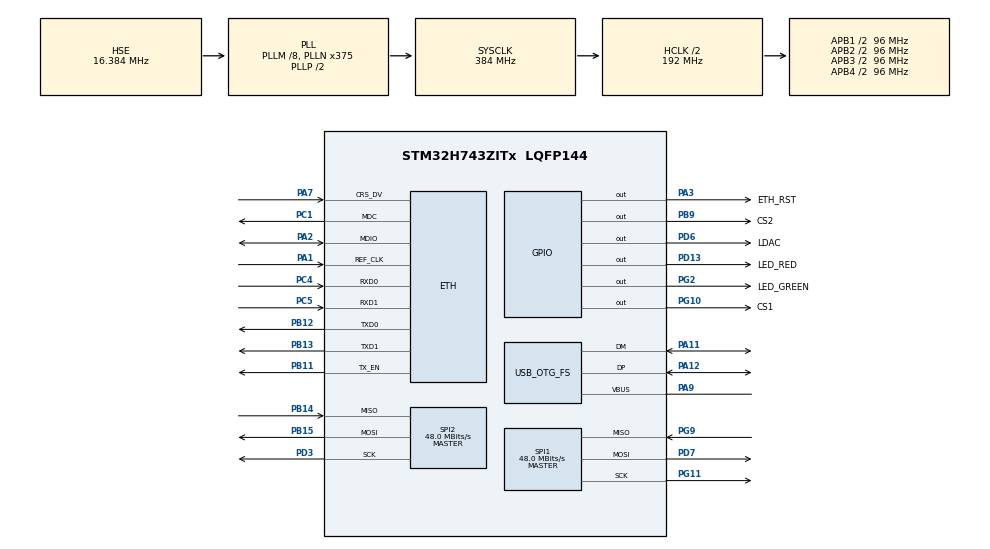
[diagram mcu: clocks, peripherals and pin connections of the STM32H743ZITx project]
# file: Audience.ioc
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CORTEX_M7.AccessPermission-Cortex_Memory_Protection_Unit_Region0_Settings=MPU_REGION_FULL_ACCESS
CORTEX_M7.AccessPermission-Cortex_Memory_Protection_Unit_Region1_Settings=MPU_REGION_FULL_ACCESS
CORTEX_M7.BaseAddress-Cortex_Memory_Protection_Unit_Region0_Settings=0x30040000
CORTEX_M7.BaseAddress-Cortex_Memory_Protection_Unit_Region1_Settings=0x30044000
CORTEX_M7.CPU_DCache=Enabled
CORTEX_M7.CPU_ICache=Enabled
CORTEX_M7.Enable-Cortex_Memory_Protection_Unit_Region0_Settings=MPU_REGION_ENABLE
CORTEX_M7.Enable-Cortex_Memory_Protection_Unit_Region1_Settings=MPU_REGION_ENABLE
CORTEX_M7.IsBufferable-Cortex_Memory_Protection_Unit_Region0_Settings=MPU_ACCESS_BUFFERABLE
CORTEX_M7.IsShareable-Cortex_Memory_Protection_Unit_Region1_Settings=MPU_ACCESS_SHAREABLE
CORTEX_M7.MPU_Control=MPU_PRIVILEGED_DEFAULT
CORTEX_M7.Size-Cortex_Memory_Protection_Unit_Region0_Settings=MPU_REGION_SIZE_256B
CORTEX_M7.Size-Cortex_Memory_Protection_Unit_Region1_Settings=MPU_REGION_SIZE_16KB
CORTEX_M7.TypeExtField-Cortex_Memory_Protection_Unit_Region1_Settings=MPU_TEX_LEVEL1
Dma.Request0=SPI2_RX
Dma.Request1=SPI2_TX
Dma.Request2=SPI1_RX
Dma.Request3=SPI1_TX
Dma.SPI1_RX.2.Direction=DMA_PERIPH_TO_MEMORY
Dma.SPI1_RX.2.EventEnable=DISABLE
Dma.SPI1_RX.2.FIFOMode=DMA_FIFOMODE_DISABLE
Dma.SPI1_RX.2.Instance=DMA1_Stream0
Dma.SPI1_RX.2.MemDataAlignment=DMA_MDATAALIGN_BYTE
Dma.SPI1_RX.2.MemInc=DMA_MINC_ENABLE
Dma.SPI1_RX.2.Mode=DMA_NORMAL
Dma.SPI1_RX.2.PeriphDataAlignment=DMA_PDATAALIGN_BYTE
Dma.SPI1_RX.2.PeriphInc=DMA_PINC_DISABLE
Dma.SPI1_RX.2.Polarity=HAL_DMAMUX_REQ_GEN_RISING
Dma.SPI1_RX.2.Priority=DMA_PRIORITY_LOW
Dma.SPI1_RX.2.RequestNumber=1
Dma.SPI1_RX.2.SignalID=NONE
Dma.SPI1_RX.2.SyncEnable=DISABLE
Dma.SPI1_RX.2.SyncPolarity=HAL_DMAMUX_SYNC_NO_EVENT
Dma.SPI1_RX.2.SyncRequestNumber=1
Dma.SPI1_RX.2.SyncSignalID=NONE
Dma.SPI1_TX.3.Direction=DMA_MEMORY_TO_PERIPH
Dma.SPI1_TX.3.EventEnable=DISABLE
Dma.SPI1_TX.3.FIFOMode=DMA_FIFOMODE_DISABLE
Dma.SPI1_TX.3.Instance=DMA1_Stream1
Dma.SPI1_TX.3.MemDataAlignment=DMA_MDATAALIGN_BYTE
Dma.SPI1_TX.3.MemInc=DMA_MINC_ENABLE
Dma.SPI1_TX.3.Mode=DMA_NORMAL
Dma.SPI1_TX.3.PeriphDataAlignment=DMA_PDATAALIGN_BYTE
Dma.SPI1_TX.3.PeriphInc=DMA_PINC_DISABLE
Dma.SPI1_TX.3.Polarity=HAL_DMAMUX_REQ_GEN_RISING
Dma.SPI1_TX.3.Priority=DMA_PRIORITY_LOW
Dma.SPI1_TX.3.RequestNumber=1
Dma.SPI1_TX.3.SignalID=NONE
Dma.SPI1_TX.3.SyncEnable=DISABLE
Dma.SPI1_TX.3.SyncPolarity=HAL_DMAMUX_SYNC_NO_EVENT
Dma.SPI1_TX.3.SyncRequestNumber=1
Dma.SPI1_TX.3.SyncSignalID=NONE
Dma.SPI2_RX.0.Direction=DMA_PERIPH_TO_MEMORY
Dma.SPI2_RX.0.EventEnable=DISABLE
Dma.SPI2_RX.0.FIFOMode=DMA_FIFOMODE_DISABLE
Dma.SPI2_RX.0.Instance=DMA1_Stream2
Dma.SPI2_RX.0.MemDataAlignment=DMA_MDATAALIGN_BYTE
Dma.SPI2_RX.0.MemInc=DMA_MINC_ENABLE
Dma.SPI2_RX.0.Mode=DMA_NORMAL
Dma.SPI2_RX.0.PeriphDataAlignment=DMA_PDATAALIGN_BYTE
Dma.SPI2_RX.0.PeriphInc=DMA_PINC_DISABLE
Dma.SPI2_RX.0.Polarity=HAL_DMAMUX_REQ_GEN_RISING
Dma.SPI2_RX.0.Priority=DMA_PRIORITY_LOW
Dma.SPI2_RX.0.RequestNumber=1
Dma.SPI2_RX.0.SignalID=NONE
Dma.SPI2_RX.0.SyncEnable=DISABLE
Dma.SPI2_RX.0.SyncPolarity=HAL_DMAMUX_SYNC_NO_EVENT
Dma.SPI2_RX.0.SyncRequestNumber=1
Dma.SPI2_RX.0.SyncSignalID=NONE
Dma.SPI2_TX.1.Direction=DMA_MEMORY_TO_PERIPH
Dma.SPI2_TX.1.EventEnable=DISABLE
Dma.SPI2_TX.1.FIFOMode=DMA_FIFOMODE_DISABLE
Dma.SPI2_TX.1.Instance=DMA1_Stream3
Dma.SPI2_TX.1.MemDataAlignment=DMA_MDATAALIGN_BYTE
Dma.SPI2_TX.1.MemInc=DMA_MINC_ENABLE
Dma.SPI2_TX.1.Mode=DMA_NORMAL
Dma.SPI2_TX.1.PeriphDataAlignment=DMA_PDATAALIGN_BYTE
Dma.SPI2_TX.1.PeriphInc=DMA_PINC_DISABLE
Dma.SPI2_TX.1.Polarity=HAL_DMAMUX_REQ_GEN_RISING
Dma.SPI2_TX.1.Priority=DMA_PRIORITY_LOW
Dma.SPI2_TX.1.RequestNumber=1
Dma.SPI2_TX.1.SignalID=NONE
Dma.SPI2_TX.1.SyncEnable=DISABLE
Dma.SPI2_TX.1.SyncPolarity=HAL_DMAMUX_SYNC_NO_EVENT
Dma.SPI2_TX.1.SyncRequestNumber=1
Dma.SPI2_TX.1.SyncSignalID=NONE
ETH.MACAddr=42\:42\:42\:12\:34\:56
ETH.MediaInterface=HAL_ETH_RMII_MODE
LWIP.BSP.number=1
LWIP.GATEWAY_ADDRESS=192.168.254.001
LWIP.IP_ADDRESS=192.168.254.012
LWIP.LWIP_DHCP=0
LWIP.NETMASK_ADDRESS=255.255.255.000
LWIP.Version=v2.1.2_Cube
LWIP0.BSP.STBoard=false
LWIP0.BSP.api=BSP_COMPONENT_DRIVER
LWIP0.BSP.component=LAN8742
LWIP0.BSP.instance=LAN8742
LWIP0.BSP.name=Driver_PHY
LWIP0.BSP.solution=LAN8742
Mcu.Family=STM32H7
Mcu.Name=STM32H743ZITx
Mcu.Package=LQFP144
NVIC.DMA1_Stream0_IRQn=true\:0\:0\:false\:false\:true\:false\:true\:true
NVIC.DMA1_Stream1_IRQn=true\:0\:0\:false\:false\:true\:false\:true\:true
NVIC.DMA1_Stream2_IRQn=true\:0\:0\:false\:false\:true\:false\:true\:true
NVIC.DMA1_Stream3_IRQn=true\:0\:0\:false\:false\:true\:false\:true\:true
NVIC.OTG_FS_IRQn=true\:0\:0\:false\:false\:true\:false\:true\:true
NVIC.PriorityGroup=NVIC_PRIORITYGROUP_4
NVIC.SPI1_IRQn=true\:0\:0\:false\:false\:true\:false\:true\:true
NVIC.SPI2_IRQn=true\:0\:0\:false\:false\:true\:false\:true\:true
NVIC.TIM1_UP_IRQn=true\:0\:0\:false\:false\:true\:true\:true\:true
PA1.GPIO_Speed=GPIO_SPEED_FREQ_VERY_HIGH
PA1.Mode=RMII
PA1.Signal=ETH_REF_CLK
PA11.Mode=Device_Only
PA11.Signal=USB_OTG_FS_DM
PA12.Mode=Device_Only
PA12.Signal=USB_OTG_FS_DP
PA2.GPIO_Speed=GPIO_SPEED_FREQ_VERY_HIGH
PA2.Mode=RMII
PA2.Signal=ETH_MDIO
PA3.GPIO_Label=ETH_RST
PA3.GPIO_Speed=GPIO_SPEED_FREQ_VERY_HIGH
PA3.PinState=GPIO_PIN_SET
PA3.Signal=GPIO_Output
PA7.GPIO_Speed=GPIO_SPEED_FREQ_VERY_HIGH
PA7.Mode=RMII
PA7.Signal=ETH_CRS_DV
PA9.Mode=Activate_VBUS
PA9.Signal=USB_OTG_FS_VBUS
PB11.GPIO_Speed=GPIO_SPEED_FREQ_VERY_HIGH
PB11.Mode=RMII
PB11.Signal=ETH_TX_EN
PB12.GPIO_Speed=GPIO_SPEED_FREQ_VERY_HIGH
PB12.Mode=RMII
PB12.Signal=ETH_TXD0
PB13.GPIO_Speed=GPIO_SPEED_FREQ_VERY_HIGH
PB13.Mode=RMII
PB13.Signal=ETH_TXD1
PB14.GPIO_Speed=GPIO_SPEED_FREQ_VERY_HIGH
PB14.Mode=Full_Duplex_Master
PB14.Signal=SPI2_MISO
PB15.GPIO_Speed=GPIO_SPEED_FREQ_VERY_HIGH
PB15.Mode=Full_Duplex_Master
PB15.Signal=SPI2_MOSI
PB9.GPIO_Label=CS2
PB9.GPIO_Speed=GPIO_SPEED_FREQ_VERY_HIGH
PB9.PinState=GPIO_PIN_SET
PB9.Signal=GPIO_Output
PC1.GPIO_Speed=GPIO_SPEED_FREQ_VERY_HIGH
PC1.Mode=RMII
PC1.Signal=ETH_MDC
PC4.GPIO_Speed=GPIO_SPEED_FREQ_VERY_HIGH
PC4.Mode=RMII
PC4.Signal=ETH_RXD0
PC5.GPIO_Speed=GPIO_SPEED_FREQ_VERY_HIGH
PC5.Mode=RMII
PC5.Signal=ETH_RXD1
PD13.GPIO_Label=LED_RED
PD13.GPIO_Speed=GPIO_SPEED_FREQ_VERY_HIGH
PD13.PinState=GPIO_PIN_SET
PD13.Signal=GPIO_Output
PD3.GPIO_Speed=GPIO_SPEED_FREQ_VERY_HIGH
PD3.Mode=Full_Duplex_Master
PD3.Signal=SPI2_SCK
PD6.GPIO_Label=LDAC
PD6.GPIO_Speed=GPIO_SPEED_FREQ_VERY_HIGH
PD6.PinState=GPIO_PIN_SET
PD6.Signal=GPIO_Output
PD7.GPIO_Speed=GPIO_SPEED_FREQ_VERY_HIGH
PD7.Mode=Full_Duplex_Master
PD7.Signal=SPI1_MOSI
PG10.GPIO_Label=CS1
PG10.GPIO_Speed=GPIO_SPEED_FREQ_VERY_HIGH
PG10.PinState=GPIO_PIN_SET
PG10.Signal=GPIO_Output
PG11.GPIO_Speed=GPIO_SPEED_FREQ_VERY_HIGH
PG11.Mode=Full_Duplex_Master
PG11.Signal=SPI1_SCK
PG2.GPIO_Label=LED_GREEN
PG2.GPIO_Speed=GPIO_SPEED_FREQ_VERY_HIGH
PG2.PinState=GPIO_PIN_SET
PG2.Signal=GPIO_Output
PG9.GPIO_Speed=GPIO_SPEED_FREQ_VERY_HIGH
PG9.Mode=Full_Duplex_Master
PG9.Signal=SPI1_MISO
PH0-OSC_IN\ (PH0).Mode=HSE-External-Oscillator
PH0-OSC_IN\ (PH0).Signal=RCC_OSC_IN
PH1-OSC_OUT\ (PH1).Mode=HSE-External-Oscillator
PH1-OSC_OUT\ (PH1).Signal=RCC_OSC_OUT
ProjectManager.HeapSize=0x4000
ProjectManager.StackSize=0x4000
ProjectManager.TargetToolchain=STM32CubeIDE
RCC.ADCFreq_Value=33024000
RCC.APB1Freq_Value=96000000
RCC.APB2Freq_Value=96000000
RCC.APB3Freq_Value=96000000
RCC.APB4Freq_Value=96000000
RCC.CortexFreq_Value=384000000
RCC.D1PPRE=RCC_APB3_DIV2
RCC.D2PPRE1=RCC_APB1_DIV2
RCC.D2PPRE2=RCC_APB2_DIV2
RCC.D3PPRE=RCC_APB4_DIV2
RCC.DIVM1=8
RCC.DIVM3=8
RCC.DIVN1=375
RCC.DIVN3=375
RCC.DIVP3=16
RCC.DIVQ1=4
RCC.DIVQ3=16
RCC.HCLKFreq_Value=192000000
RCC.HPRE=RCC_HCLK_DIV2
RCC.HSE_VALUE=16384000
RCC.PLL2FRACN=0
RCC.PLL3FRACN=0
RCC.PLLFRACN=0
RCC.PLLSourceVirtual=RCC_PLLSOURCE_HSE
RCC.SYSCLKFreq_VALUE=384000000
RCC.SYSCLKSource=RCC_SYSCLKSOURCE_PLLCLK
RCC.USBCLockSelection=RCC_USBCLKSOURCE_PLL3
RCC.USBFreq_Value=48000000
SPI1.BaudRatePrescaler=SPI_BAUDRATEPRESCALER_4
SPI1.CalculateBaudRate=48.0 MBits/s
SPI1.DataSize=SPI_DATASIZE_8BIT
SPI1.Direction=SPI_DIRECTION_2LINES
SPI1.Mode=SPI_MODE_MASTER
SPI1.VirtualType=VM_MASTER
SPI2.BaudRatePrescaler=SPI_BAUDRATEPRESCALER_4
SPI2.CalculateBaudRate=48.0 MBits/s
SPI2.DataSize=SPI_DATASIZE_8BIT
SPI2.Direction=SPI_DIRECTION_2LINES
SPI2.Mode=SPI_MODE_MASTER
SPI2.VirtualType=VM_MASTER
TIM1.Channel-Output\ Compare1\ No\ Output=TIM_CHANNEL_1
TIM1.ClockDivision=TIM_CLOCKDIVISION_DIV2
TIM1.Period=9
TIM1.Prescaler=99
USB_DEVICE.CLASS_NAME_FS=AUDIO
USB_DEVICE.MANUFACTURER_STRING-AUDIO_FS=Skrrmrchoh
USB_DEVICE.PRODUCT_STRING_AUDIO_FS=Audience
USB_DEVICE.USBD_AUDIO_FREQ-AUDIO_FS=48000
USB_DEVICE.USBD_DEBUG_LEVEL-AUDIO_FS=0
USB_DEVICE.VirtualMode-AUDIO_FS=Audio
USB_DEVICE.VirtualModeFS=Audio_FS
USB_OTG_FS.VirtualMode=Device_Only
USB_OTG_FS.lpm_enable=DISABLE
VP_LWIP_VS_Enabled.Mode=Enabled
VP_TIM1_VS_ClockSourceINT.Mode=Internal
VP_TIM1_VS_no_output1.Mode=Output Compare1 No Output
VP_USB_DEVICE_VS_USB_DEVICE_AUDIO_FS.Mode=AUDIO_FS
board=custom

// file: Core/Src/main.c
/* USER CODE BEGIN Header */
/**
  ******************************************************************************
  * @file           : main.c
  * @brief          : Main program body
  ******************************************************************************
  * @attention
  *
  * <h2><center>&copy; Copyright (c) 2020 STMicroelectronics.
  * All rights reserved.</center></h2>
  *
  * This software component is licensed by ST under BSD 3-Clause license,
  * the "License"; You may not use this file except in compliance with the
  * License. You may obtain a copy of the License at:
  *                        opensource.org/licenses/BSD-3-Clause
  *
  ******************************************************************************
  */
/* USER CODE END Header */
#include "main.h"
#include "lwip.h"
#include "usb_device.h"

/* USER CODE BEGIN Includes */

#include "system_c.h"

extern struct netif gnetif;

/* USER CODE END Includes */

void SystemClock_Config(void);
static void MPU_Config(void);
static void MX_GPIO_Init(void);
static void MX_DMA_Init(void);
static void MX_SPI1_Init(void);
static void MX_SPI2_Init(void);
static void MX_TIM1_Init(void);

/* USER CODE BEGIN 0 */
extern uint8_t IP_ADDRESS[4];
extern uint8_t NETMASK_ADDRESS[4];

void usbStatInit();

uint8_t buffer[256];

/* USER CODE END 0 */

int main(void)
{
  /* USER CODE BEGIN 1 */

	  __HAL_RCC_ETH1MAC_CLK_ENABLE();
	  __HAL_RCC_ETH1TX_CLK_ENABLE();
	  __HAL_RCC_ETH1RX_CLK_ENABLE();
	  __HAL_RCC_DMA1_CLK_ENABLE();
	  __HAL_RCC_SPI1_CLK_ENABLE();
	  __HAL_RCC_SPI2_CLK_ENABLE();
	  __HAL_RCC_GPIOA_CLK_ENABLE();
	  __HAL_RCC_GPIOB_CLK_ENABLE();
	  __HAL_RCC_GPIOC_CLK_ENABLE();
	  __HAL_RCC_GPIOD_CLK_ENABLE();
	  __HAL_RCC_GPIOE_CLK_ENABLE();
	  __HAL_RCC_GPIOF_CLK_ENABLE();
	  __HAL_RCC_GPIOG_CLK_ENABLE();
	  __HAL_RCC_GPIOH_CLK_ENABLE();
  /* USER CODE END 1 */

  /* MPU Configuration--------------------------------------------------------*/
  MPU_Config();

  /* Enable I-Cache---------------------------------------------------------*/
  SCB_EnableICache();

  /* Enable D-Cache---------------------------------------------------------*/
  SCB_EnableDCache();

  /* MCU Configuration--------------------------------------------------------*/

  /* Reset of all peripherals, Initializes the Flash interface and the Systick. */
  HAL_Init();

  /* USER CODE BEGIN Init */

	IP_ADDRESS[0] = 192;
	IP_ADDRESS[1] = 168;
	IP_ADDRESS[2] = 254;
	IP_ADDRESS[3] = 12;

	NETMASK_ADDRESS[0] = 255;
	NETMASK_ADDRESS[1] = 255;
	NETMASK_ADDRESS[2] = 255;
	NETMASK_ADDRESS[3] = 0;

  /* USER CODE END Init */

  /* Configure the system clock */
  SystemClock_Config();

  /* USER CODE BEGIN SysInit */

  HAL_Delay(1);
  __HAL_RCC_D2SRAM3_CLK_ENABLE();
  __HAL_RCC_ETH1MAC_CLK_ENABLE();
  __HAL_RCC_ETH1TX_CLK_ENABLE();
  __HAL_RCC_ETH1RX_CLK_ENABLE();
  __HAL_RCC_DMA1_CLK_ENABLE();
  HAL_Delay(1);

  usbStatInit();

  /* USER CODE END SysInit */

  /* Initialize all configured peripherals */
  MX_GPIO_Init();
  MX_DMA_Init();
  MX_SPI1_Init();
  MX_SPI2_Init();
  MX_LWIP_Init();
  MX_TIM1_Init();
  MX_USB_DEVICE_Init();
  /* USER CODE BEGIN 2 */

  system_init();

  /* USER CODE END 2 */

  /* Infinite loop */
  /* USER CODE BEGIN WHILE */
  while (1)
  {
	  system_process();
    /* USER CODE END WHILE */

  }
}

void SystemClock_Config(void)
{
  RCC_OscInitTypeDef RCC_OscInitStruct = {0};
  RCC_ClkInitTypeDef RCC_ClkInitStruct = {0};

  /** Supply configuration update enable
  */
  HAL_PWREx_ConfigSupply(PWR_LDO_SUPPLY);

  /** Configure the main internal regulator output voltage
  */
  __HAL_PWR_VOLTAGESCALING_CONFIG(PWR_REGULATOR_VOLTAGE_SCALE1);

  while(!__HAL_PWR_GET_FLAG(PWR_FLAG_VOSRDY)) {}

  /** Macro to configure the PLL clock source
  */
  __HAL_RCC_PLL_PLLSOURCE_CONFIG(RCC_PLLSOURCE_HSE);

  /** Initializes the RCC Oscillators according to the specified parameters
  * in the RCC_OscInitTypeDef structure.
  */
  RCC_OscInitStruct.OscillatorType = RCC_OSCILLATORTYPE_HSE;
  RCC_OscInitStruct.HSEState = RCC_HSE_ON;
  RCC_OscInitStruct.PLL.PLLState = RCC_PLL_ON;
  RCC_OscInitStruct.PLL.PLLSource = RCC_PLLSOURCE_HSE;
  RCC_OscInitStruct.PLL.PLLM = 8;
  RCC_OscInitStruct.PLL.PLLN = 375;
  RCC_OscInitStruct.PLL.PLLP = 2;
  RCC_OscInitStruct.PLL.PLLQ = 4;
  RCC_OscInitStruct.PLL.PLLR = 2;
  RCC_OscInitStruct.PLL.PLLRGE = RCC_PLL1VCIRANGE_1;
  RCC_OscInitStruct.PLL.PLLVCOSEL = RCC_PLL1VCOWIDE;
  RCC_OscInitStruct.PLL.PLLFRACN = 0;
  if (HAL_RCC_OscConfig(&RCC_OscInitStruct) != HAL_OK)
  {
    Error_Handler();
  }

  /** Initializes the CPU, AHB and APB buses clocks
  */
  RCC_ClkInitStruct.ClockType = RCC_CLOCKTYPE_HCLK|RCC_CLOCKTYPE_SYSCLK
                              |RCC_CLOCKTYPE_PCLK1|RCC_CLOCKTYPE_PCLK2
                              |RCC_CLOCKTYPE_D3PCLK1|RCC_CLOCKTYPE_D1PCLK1;
  RCC_ClkInitStruct.SYSCLKSource = RCC_SYSCLKSOURCE_PLLCLK;
  RCC_ClkInitStruct.SYSCLKDivider = RCC_SYSCLK_DIV1;
  RCC_ClkInitStruct.AHBCLKDivider = RCC_HCLK_DIV2;
  RCC_ClkInitStruct.APB3CLKDivider = RCC_APB3_DIV2;
  RCC_ClkInitStruct.APB1CLKDivider = RCC_APB1_DIV2;
  RCC_ClkInitStruct.APB2CLKDivider = RCC_APB2_DIV2;
  RCC_ClkInitStruct.APB4CLKDivider = RCC_APB4_DIV2;

  if (HAL_RCC_ClockConfig(&RCC_ClkInitStruct, FLASH_LATENCY_2) != HAL_OK)
  {
    Error_Handler();
  }
}

static void MX_SPI1_Init(void)
{

  LL_SPI_InitTypeDef SPI_InitStruct = {0};

  LL_GPIO_InitTypeDef GPIO_InitStruct = {0};
  RCC_PeriphCLKInitTypeDef PeriphClkInitStruct = {0};

  /** Initializes the peripherals clock
  */
  PeriphClkInitStruct.PeriphClockSelection = RCC_PERIPHCLK_SPI1;
  PeriphClkInitStruct.Spi123ClockSelection = RCC_SPI123CLKSOURCE_PLL;
  if (HAL_RCCEx_PeriphCLKConfig(&PeriphClkInitStruct) != HAL_OK)
  {
    Error_Handler();
  }

  /* Peripheral clock enable */
  LL_APB2_GRP1_EnableClock(LL_APB2_GRP1_PERIPH_SPI1);

  LL_AHB4_GRP1_EnableClock(LL_AHB4_GRP1_PERIPH_GPIOD);
  LL_AHB4_GRP1_EnableClock(LL_AHB4_GRP1_PERIPH_GPIOG);
  /**SPI1 GPIO Configuration
  PD7   ------> SPI1_MOSI
  PG9   ------> SPI1_MISO
  PG11   ------> SPI1_SCK
  */
  GPIO_InitStruct.Pin = LL_GPIO_PIN_7;
  GPIO_InitStruct.Mode = LL_GPIO_MODE_ALTERNATE;
  GPIO_InitStruct.Speed = LL_GPIO_SPEED_FREQ_VERY_HIGH;
  GPIO_InitStruct.OutputType = LL_GPIO_OUTPUT_PUSHPULL;
  GPIO_InitStruct.Pull = LL_GPIO_PULL_NO;
  GPIO_InitStruct.Alternate = LL_GPIO_AF_5;
  LL_GPIO_Init(GPIOD, &GPIO_InitStruct);

  GPIO_InitStruct.Pin = LL_GPIO_PIN_9|LL_GPIO_PIN_11;
  GPIO_InitStruct.Mode = LL_GPIO_MODE_ALTERNATE;
  GPIO_InitStruct.Speed = LL_GPIO_SPEED_FREQ_VERY_HIGH;
  GPIO_InitStruct.OutputType = LL_GPIO_OUTPUT_PUSHPULL;
  GPIO_InitStruct.Pull = LL_GPIO_PULL_NO;
  GPIO_InitStruct.Alternate = LL_GPIO_AF_5;
  LL_GPIO_Init(GPIOG, &GPIO_InitStruct);

  /* SPI1 DMA Init */

  /* SPI1_RX Init */
  LL_DMA_SetPeriphRequest(DMA1, LL_DMA_STREAM_0, LL_DMAMUX1_REQ_SPI1_RX);

  LL_DMA_SetDataTransferDirection(DMA1, LL_DMA_STREAM_0, LL_DMA_DIRECTION_PERIPH_TO_MEMORY);

  LL_DMA_SetStreamPriorityLevel(DMA1, LL_DMA_STREAM_0, LL_DMA_PRIORITY_LOW);

  LL_DMA_SetMode(DMA1, LL_DMA_STREAM_0, LL_DMA_MODE_NORMAL);

  LL_DMA_SetPeriphIncMode(DMA1, LL_DMA_STREAM_0, LL_DMA_PERIPH_NOINCREMENT);

  LL_DMA_SetMemoryIncMode(DMA1, LL_DMA_STREAM_0, LL_DMA_MEMORY_INCREMENT);

  LL_DMA_SetPeriphSize(DMA1, LL_DMA_STREAM_0, LL_DMA_PDATAALIGN_BYTE);

  LL_DMA_SetMemorySize(DMA1, LL_DMA_STREAM_0, LL_DMA_MDATAALIGN_BYTE);

  LL_DMA_DisableFifoMode(DMA1, LL_DMA_STREAM_0);

  /* SPI1_TX Init */
  LL_DMA_SetPeriphRequest(DMA1, LL_DMA_STREAM_1, LL_DMAMUX1_REQ_SPI1_TX);

  LL_DMA_SetDataTransferDirection(DMA1, LL_DMA_STREAM_1, LL_DMA_DIRECTION_MEMORY_TO_PERIPH);

  LL_DMA_SetStreamPriorityLevel(DMA1, LL_DMA_STREAM_1, LL_DMA_PRIORITY_LOW);

  LL_DMA_SetMode(DMA1, LL_DMA_STREAM_1, LL_DMA_MODE_NORMAL);

  LL_DMA_SetPeriphIncMode(DMA1, LL_DMA_STREAM_1, LL_DMA_PERIPH_NOINCREMENT);

  LL_DMA_SetMemoryIncMode(DMA1, LL_DMA_STREAM_1, LL_DMA_MEMORY_INCREMENT);

  LL_DMA_SetPeriphSize(DMA1, LL_DMA_STREAM_1, LL_DMA_PDATAALIGN_BYTE);

  LL_DMA_SetMemorySize(DMA1, LL_DMA_STREAM_1, LL_DMA_MDATAALIGN_BYTE);

  LL_DMA_DisableFifoMode(DMA1, LL_DMA_STREAM_1);

  /* SPI1 interrupt Init */
  NVIC_SetPriority(SPI1_IRQn, NVIC_EncodePriority(NVIC_GetPriorityGrouping(),0, 0));
  NVIC_EnableIRQ(SPI1_IRQn);

  /* SPI1 parameter configuration*/
  SPI_InitStruct.TransferDirection = LL_SPI_FULL_DUPLEX;
  SPI_InitStruct.Mode = LL_SPI_MODE_MASTER;
  SPI_InitStruct.DataWidth = LL_SPI_DATAWIDTH_8BIT;
  SPI_InitStruct.ClockPolarity = LL_SPI_POLARITY_LOW;
  SPI_InitStruct.ClockPhase = LL_SPI_PHASE_1EDGE;
  SPI_InitStruct.NSS = LL_SPI_NSS_SOFT;
  SPI_InitStruct.BaudRate = LL_SPI_BAUDRATEPRESCALER_DIV4;
  SPI_InitStruct.BitOrder = LL_SPI_MSB_FIRST;
  SPI_InitStruct.CRCCalculation = LL_SPI_CRCCALCULATION_DISABLE;
  SPI_InitStruct.CRCPoly = 0x0;
  LL_SPI_Init(SPI1, &SPI_InitStruct);
  LL_SPI_SetStandard(SPI1, LL_SPI_PROTOCOL_MOTOROLA);
  LL_SPI_EnableNSSPulseMgt(SPI1);

}

static void MX_SPI2_Init(void)
{

  LL_SPI_InitTypeDef SPI_InitStruct = {0};

  LL_GPIO_InitTypeDef GPIO_InitStruct = {0};
  RCC_PeriphCLKInitTypeDef PeriphClkInitStruct = {0};

  /** Initializes the peripherals clock
  */
  PeriphClkInitStruct.PeriphClockSelection = RCC_PERIPHCLK_SPI2;
  PeriphClkInitStruct.Spi123ClockSelection = RCC_SPI123CLKSOURCE_PLL;
  if (HAL_RCCEx_PeriphCLKConfig(&PeriphClkInitStruct) != HAL_OK)
  {
    Error_Handler();
  }

  /* Peripheral clock enable */
  LL_APB1_GRP1_EnableClock(LL_APB1_GRP1_PERIPH_SPI2);

  LL_AHB4_GRP1_EnableClock(LL_AHB4_GRP1_PERIPH_GPIOB);
  LL_AHB4_GRP1_EnableClock(LL_AHB4_GRP1_PERIPH_GPIOD);
  /**SPI2 GPIO Configuration
  PB14   ------> SPI2_MISO
  PB15   ------> SPI2_MOSI
  PD3   ------> SPI2_SCK
  */
  GPIO_InitStruct.Pin = LL_GPIO_PIN_14|LL_GPIO_PIN_15;
  GPIO_InitStruct.Mode = LL_GPIO_MODE_ALTERNATE;
  GPIO_InitStruct.Speed = LL_GPIO_SPEED_FREQ_VERY_HIGH;
  GPIO_InitStruct.OutputType = LL_GPIO_OUTPUT_PUSHPULL;
  GPIO_InitStruct.Pull = LL_GPIO_PULL_NO;
  GPIO_InitStruct.Alternate = LL_GPIO_AF_5;
  LL_GPIO_Init(GPIOB, &GPIO_InitStruct);

  GPIO_InitStruct.Pin = LL_GPIO_PIN_3;
  GPIO_InitStruct.Mode = LL_GPIO_MODE_ALTERNATE;
  GPIO_InitStruct.Speed = LL_GPIO_SPEED_FREQ_VERY_HIGH;
  GPIO_InitStruct.OutputType = LL_GPIO_OUTPUT_PUSHPULL;
  GPIO_InitStruct.Pull = LL_GPIO_PULL_NO;
  GPIO_InitStruct.Alternate = LL_GPIO_AF_5;
  LL_GPIO_Init(GPIOD, &GPIO_InitStruct);

  /* SPI2 DMA Init */

  /* SPI2_RX Init */
  LL_DMA_SetPeriphRequest(DMA1, LL_DMA_STREAM_2, LL_DMAMUX1_REQ_SPI2_RX);

  LL_DMA_SetDataTransferDirection(DMA1, LL_DMA_STREAM_2, LL_DMA_DIRECTION_PERIPH_TO_MEMORY);

  LL_DMA_SetStreamPriorityLevel(DMA1, LL_DMA_STREAM_2, LL_DMA_PRIORITY_LOW);

  LL_DMA_SetMode(DMA1, LL_DMA_STREAM_2, LL_DMA_MODE_NORMAL);

  LL_DMA_SetPeriphIncMode(DMA1, LL_DMA_STREAM_2, LL_DMA_PERIPH_NOINCREMENT);

  LL_DMA_SetMemoryIncMode(DMA1, LL_DMA_STREAM_2, LL_DMA_MEMORY_INCREMENT);

  LL_DMA_SetPeriphSize(DMA1, LL_DMA_STREAM_2, LL_DMA_PDATAALIGN_BYTE);

  LL_DMA_SetMemorySize(DMA1, LL_DMA_STREAM_2, LL_DMA_MDATAALIGN_BYTE);

  LL_DMA_DisableFifoMode(DMA1, LL_DMA_STREAM_2);

  /* SPI2_TX Init */
  LL_DMA_SetPeriphRequest(DMA1, LL_DMA_STREAM_3, LL_DMAMUX1_REQ_SPI2_TX);

  LL_DMA_SetDataTransferDirection(DMA1, LL_DMA_STREAM_3, LL_DMA_DIRECTION_MEMORY_TO_PERIPH);

  LL_DMA_SetStreamPriorityLevel(DMA1, LL_DMA_STREAM_3, LL_DMA_PRIORITY_LOW);

  LL_DMA_SetMode(DMA1, LL_DMA_STREAM_3, LL_DMA_MODE_NORMAL);

  LL_DMA_SetPeriphIncMode(DMA1, LL_DMA_STREAM_3, LL_DMA_PERIPH_NOINCREMENT);

  LL_DMA_SetMemoryIncMode(DMA1, LL_DMA_STREAM_3, LL_DMA_MEMORY_INCREMENT);

  LL_DMA_SetPeriphSize(DMA1, LL_DMA_STREAM_3, LL_DMA_PDATAALIGN_BYTE);

  LL_DMA_SetMemorySize(DMA1, LL_DMA_STREAM_3, LL_DMA_MDATAALIGN_BYTE);

  LL_DMA_DisableFifoMode(DMA1, LL_DMA_STREAM_3);

  /* SPI2 interrupt Init */
  NVIC_SetPriority(SPI2_IRQn, NVIC_EncodePriority(NVIC_GetPriorityGrouping(),0, 0));
  NVIC_EnableIRQ(SPI2_IRQn);

  /* SPI2 parameter configuration*/
  SPI_InitStruct.TransferDirection = LL_SPI_FULL_DUPLEX;
  SPI_InitStruct.Mode = LL_SPI_MODE_MASTER;
  SPI_InitStruct.DataWidth = LL_SPI_DATAWIDTH_8BIT;
  SPI_InitStruct.ClockPolarity = LL_SPI_POLARITY_LOW;
  SPI_InitStruct.ClockPhase = LL_SPI_PHASE_1EDGE;
  SPI_InitStruct.NSS = LL_SPI_NSS_SOFT;
  SPI_InitStruct.BaudRate = LL_SPI_BAUDRATEPRESCALER_DIV4;
  SPI_InitStruct.BitOrder = LL_SPI_MSB_FIRST;
  SPI_InitStruct.CRCCalculation = LL_SPI_CRCCALCULATION_DISABLE;
  SPI_InitStruct.CRCPoly = 0x0;
  LL_SPI_Init(SPI2, &SPI_InitStruct);
  LL_SPI_SetStandard(SPI2, LL_SPI_PROTOCOL_MOTOROLA);
  LL_SPI_EnableNSSPulseMgt(SPI2);

}

static void MX_TIM1_Init(void)
{

  LL_TIM_InitTypeDef TIM_InitStruct = {0};
  LL_TIM_OC_InitTypeDef TIM_OC_InitStruct = {0};
  LL_TIM_BDTR_InitTypeDef TIM_BDTRInitStruct = {0};

  /* Peripheral clock enable */
  LL_APB2_GRP1_EnableClock(LL_APB2_GRP1_PERIPH_TIM1);

  /* TIM1 interrupt Init */
  NVIC_SetPriority(TIM1_UP_IRQn, NVIC_EncodePriority(NVIC_GetPriorityGrouping(),0, 0));
  NVIC_EnableIRQ(TIM1_UP_IRQn);

  TIM_InitStruct.Prescaler = 99;
  TIM_InitStruct.CounterMode = LL_TIM_COUNTERMODE_UP;
  TIM_InitStruct.Autoreload = 9;
  TIM_InitStruct.ClockDivision = LL_TIM_CLOCKDIVISION_DIV2;
  TIM_InitStruct.RepetitionCounter = 0;
  LL_TIM_Init(TIM1, &TIM_InitStruct);
  LL_TIM_DisableARRPreload(TIM1);
  LL_TIM_SetClockSource(TIM1, LL_TIM_CLOCKSOURCE_INTERNAL);
  TIM_OC_InitStruct.OCMode = LL_TIM_OCMODE_FROZEN;
  TIM_OC_InitStruct.OCState = LL_TIM_OCSTATE_DISABLE;
  TIM_OC_InitStruct.OCNState = LL_TIM_OCSTATE_DISABLE;
  TIM_OC_InitStruct.CompareValue = 0;
  TIM_OC_InitStruct.OCPolarity = LL_TIM_OCPOLARITY_HIGH;
  TIM_OC_InitStruct.OCNPolarity = LL_TIM_OCPOLARITY_HIGH;
  TIM_OC_InitStruct.OCIdleState = LL_TIM_OCIDLESTATE_LOW;
  TIM_OC_InitStruct.OCNIdleState = LL_TIM_OCIDLESTATE_LOW;
  LL_TIM_OC_Init(TIM1, LL_TIM_CHANNEL_CH1, &TIM_OC_InitStruct);
  LL_TIM_OC_DisableFast(TIM1, LL_TIM_CHANNEL_CH1);
  LL_TIM_SetTriggerOutput(TIM1, LL_TIM_TRGO_RESET);
  LL_TIM_SetTriggerOutput2(TIM1, LL_TIM_TRGO2_RESET);
  LL_TIM_DisableMasterSlaveMode(TIM1);
  TIM_BDTRInitStruct.OSSRState = LL_TIM_OSSR_DISABLE;
  TIM_BDTRInitStruct.OSSIState = LL_TIM_OSSI_DISABLE;
  TIM_BDTRInitStruct.LockLevel = LL_TIM_LOCKLEVEL_OFF;
  TIM_BDTRInitStruct.DeadTime = 0;
  TIM_BDTRInitStruct.BreakState = LL_TIM_BREAK_DISABLE;
  TIM_BDTRInitStruct.BreakPolarity = LL_TIM_BREAK_POLARITY_HIGH;
  TIM_BDTRInitStruct.BreakFilter = LL_TIM_BREAK_FILTER_FDIV1;
  TIM_BDTRInitStruct.Break2State = LL_TIM_BREAK2_DISABLE;
  TIM_BDTRInitStruct.Break2Polarity = LL_TIM_BREAK2_POLARITY_HIGH;
  TIM_BDTRInitStruct.Break2Filter = LL_TIM_BREAK2_FILTER_FDIV1;
  TIM_BDTRInitStruct.AutomaticOutput = LL_TIM_AUTOMATICOUTPUT_DISABLE;
  LL_TIM_BDTR_Init(TIM1, &TIM_BDTRInitStruct);

}

static void MX_DMA_Init(void)
{

  /* Init with LL driver */
  /* DMA controller clock enable */
  LL_AHB1_GRP1_EnableClock(LL_AHB1_GRP1_PERIPH_DMA1);

  /* DMA interrupt init */
  /* DMA1_Stream0_IRQn interrupt configuration */
  NVIC_SetPriority(DMA1_Stream0_IRQn, NVIC_EncodePriority(NVIC_GetPriorityGrouping(),0, 0));
  NVIC_EnableIRQ(DMA1_Stream0_IRQn);
  /* DMA1_Stream1_IRQn interrupt configuration */
  NVIC_SetPriority(DMA1_Stream1_IRQn, NVIC_EncodePriority(NVIC_GetPriorityGrouping(),0, 0));
  NVIC_EnableIRQ(DMA1_Stream1_IRQn);
  /* DMA1_Stream2_IRQn interrupt configuration */
  NVIC_SetPriority(DMA1_Stream2_IRQn, NVIC_EncodePriority(NVIC_GetPriorityGrouping(),0, 0));
  NVIC_EnableIRQ(DMA1_Stream2_IRQn);
  /* DMA1_Stream3_IRQn interrupt configuration */
  NVIC_SetPriority(DMA1_Stream3_IRQn, NVIC_EncodePriority(NVIC_GetPriorityGrouping(),0, 0));
  NVIC_EnableIRQ(DMA1_Stream3_IRQn);

}

static void MX_GPIO_Init(void)
{
  LL_GPIO_InitTypeDef GPIO_InitStruct = {0};

  /* GPIO Ports Clock Enable */
  LL_AHB4_GRP1_EnableClock(LL_AHB4_GRP1_PERIPH_GPIOH);
  LL_AHB4_GRP1_EnableClock(LL_AHB4_GRP1_PERIPH_GPIOC);
  LL_AHB4_GRP1_EnableClock(LL_AHB4_GRP1_PERIPH_GPIOA);
  LL_AHB4_GRP1_EnableClock(LL_AHB4_GRP1_PERIPH_GPIOB);
  LL_AHB4_GRP1_EnableClock(LL_AHB4_GRP1_PERIPH_GPIOD);
  LL_AHB4_GRP1_EnableClock(LL_AHB4_GRP1_PERIPH_GPIOG);

  /**/
  LL_GPIO_SetOutputPin(ETH_RST_GPIO_Port, ETH_RST_Pin);

  /**/
  LL_GPIO_SetOutputPin(GPIOD, LED_RED_Pin|LDAC_Pin);

  /**/
  LL_GPIO_SetOutputPin(GPIOG, LED_GREEN_Pin|CS1_Pin);

  /**/
  LL_GPIO_SetOutputPin(CS2_GPIO_Port, CS2_Pin);

  /**/
  GPIO_InitStruct.Pin = ETH_RST_Pin;
  GPIO_InitStruct.Mode = LL_GPIO_MODE_OUTPUT;
  GPIO_InitStruct.Speed = LL_GPIO_SPEED_FREQ_VERY_HIGH;
  GPIO_InitStruct.OutputType = LL_GPIO_OUTPUT_PUSHPULL;
  GPIO_InitStruct.Pull = LL_GPIO_PULL_NO;
  LL_GPIO_Init(ETH_RST_GPIO_Port, &GPIO_InitStruct);

  /**/
  GPIO_InitStruct.Pin = LED_RED_Pin|LDAC_Pin;
  GPIO_InitStruct.Mode = LL_GPIO_MODE_OUTPUT;
  GPIO_InitStruct.Speed = LL_GPIO_SPEED_FREQ_VERY_HIGH;
  GPIO_InitStruct.OutputType = LL_GPIO_OUTPUT_PUSHPULL;
  GPIO_InitStruct.Pull = LL_GPIO_PULL_NO;
  LL_GPIO_Init(GPIOD, &GPIO_InitStruct);

  /**/
  GPIO_InitStruct.Pin = LED_GREEN_Pin|CS1_Pin;
  GPIO_InitStruct.Mode = LL_GPIO_MODE_OUTPUT;
  GPIO_InitStruct.Speed = LL_GPIO_SPEED_FREQ_VERY_HIGH;
  GPIO_InitStruct.OutputType = LL_GPIO_OUTPUT_PUSHPULL;
  GPIO_InitStruct.Pull = LL_GPIO_PULL_NO;
  LL_GPIO_Init(GPIOG, &GPIO_InitStruct);

  /**/
  GPIO_InitStruct.Pin = CS2_Pin;
  GPIO_InitStruct.Mode = LL_GPIO_MODE_OUTPUT;
  GPIO_InitStruct.Speed = LL_GPIO_SPEED_FREQ_VERY_HIGH;
  GPIO_InitStruct.OutputType = LL_GPIO_OUTPUT_PUSHPULL;
  GPIO_InitStruct.Pull = LL_GPIO_PULL_NO;
  LL_GPIO_Init(CS2_GPIO_Port, &GPIO_InitStruct);

}

/* USER CODE BEGIN 4 */

void MPU_Config1(void)
{
	MPU_Region_InitTypeDef MPU_InitStruct;

	/* Disables the MPU */
	HAL_MPU_Disable();
	/**Initializes and configures the Region and the memory to be protected
	*/
	MPU_InitStruct.Enable = MPU_REGION_ENABLE;
	MPU_InitStruct.Number = MPU_REGION_NUMBER2;
	MPU_InitStruct.BaseAddress = 0x30040000;
	MPU_InitStruct.Size = MPU_REGION_SIZE_256B;
	MPU_InitStruct.SubRegionDisable = 0x0;
	MPU_InitStruct.TypeExtField = MPU_TEX_LEVEL0;
	MPU_InitStruct.AccessPermission = MPU_REGION_FULL_ACCESS;
	MPU_InitStruct.DisableExec = MPU_INSTRUCTION_ACCESS_ENABLE;
	MPU_InitStruct.IsShareable = MPU_ACCESS_NOT_SHAREABLE;
	MPU_InitStruct.IsCacheable = MPU_ACCESS_NOT_CACHEABLE;
	MPU_InitStruct.IsBufferable = MPU_ACCESS_BUFFERABLE;

	HAL_MPU_ConfigRegion(&MPU_InitStruct);

	/**Initializes and configures the Region and the memory to be protected
	*/
	MPU_InitStruct.Enable = MPU_REGION_ENABLE;
	MPU_InitStruct.Number = MPU_REGION_NUMBER1;
	MPU_InitStruct.BaseAddress = 0x30044000;
	MPU_InitStruct.Size = MPU_REGION_SIZE_16KB;
	MPU_InitStruct.SubRegionDisable = 0x0;
	MPU_InitStruct.TypeExtField = MPU_TEX_LEVEL0;
	MPU_InitStruct.AccessPermission = MPU_REGION_FULL_ACCESS;
	MPU_InitStruct.DisableExec = MPU_INSTRUCTION_ACCESS_ENABLE;
	MPU_InitStruct.IsShareable = MPU_ACCESS_NOT_SHAREABLE;
	MPU_InitStruct.IsCacheable = MPU_ACCESS_CACHEABLE;
	MPU_InitStruct.IsBufferable = MPU_ACCESS_NOT_BUFFERABLE;

	HAL_MPU_ConfigRegion(&MPU_InitStruct);

	MPU_InitStruct.Enable = MPU_REGION_ENABLE;
	MPU_InitStruct.Number = MPU_REGION_NUMBER0;
	MPU_InitStruct.BaseAddress = 0x30040000;
	MPU_InitStruct.Size = MPU_REGION_SIZE_16KB;
	MPU_InitStruct.SubRegionDisable = 0x0;
	MPU_InitStruct.TypeExtField = MPU_TEX_LEVEL1;
	MPU_InitStruct.AccessPermission = MPU_REGION_FULL_ACCESS;
	MPU_InitStruct.DisableExec = MPU_INSTRUCTION_ACCESS_ENABLE;
	MPU_InitStruct.IsShareable = MPU_ACCESS_NOT_SHAREABLE;
	MPU_InitStruct.IsCacheable = MPU_ACCESS_NOT_CACHEABLE;
	MPU_InitStruct.IsBufferable = MPU_ACCESS_NOT_BUFFERABLE;

	HAL_MPU_ConfigRegion(&MPU_InitStruct);

	/* Enables the MPU */
	HAL_MPU_Enable(MPU_PRIVILEGED_DEFAULT);
}

/* USER CODE END 4 */

/* MPU Configuration */

void MPU_Config(void)
{
  MPU_Region_InitTypeDef MPU_InitStruct = {0};

  /* Disables the MPU */
  HAL_MPU_Disable();

  /** Initializes and configures the Region and the memory to be protected
  */
  MPU_InitStruct.Enable = MPU_REGION_ENABLE;
  MPU_InitStruct.Number = MPU_REGION_NUMBER0;
  MPU_InitStruct.BaseAddress = 0x30040000;
  MPU_InitStruct.Size = MPU_REGION_SIZE_256B;
  MPU_InitStruct.SubRegionDisable = 0x0;
  MPU_InitStruct.TypeExtField = MPU_TEX_LEVEL0;
  MPU_InitStruct.AccessPermission = MPU_REGION_FULL_ACCESS;
  MPU_InitStruct.DisableExec = MPU_INSTRUCTION_ACCESS_ENABLE;
  MPU_InitStruct.IsShareable = MPU_ACCESS_NOT_SHAREABLE;
  MPU_InitStruct.IsCacheable = MPU_ACCESS_NOT_CACHEABLE;
  MPU_InitStruct.IsBufferable = MPU_ACCESS_BUFFERABLE;

  HAL_MPU_ConfigRegion(&MPU_InitStruct);

  /** Initializes and configures the Region and the memory to be protected
  */
  MPU_InitStruct.Number = MPU_REGION_NUMBER1;
  MPU_InitStruct.BaseAddress = 0x30044000;
  MPU_InitStruct.Size = MPU_REGION_SIZE_16KB;
  MPU_InitStruct.TypeExtField = MPU_TEX_LEVEL1;
  MPU_InitStruct.IsShareable = MPU_ACCESS_SHAREABLE;
  MPU_InitStruct.IsBufferable = MPU_ACCESS_NOT_BUFFERABLE;

  HAL_MPU_ConfigRegion(&MPU_InitStruct);
  /* Enables the MPU */
  HAL_MPU_Enable(MPU_PRIVILEGED_DEFAULT);

}

void Error_Handler(void)
{
}
